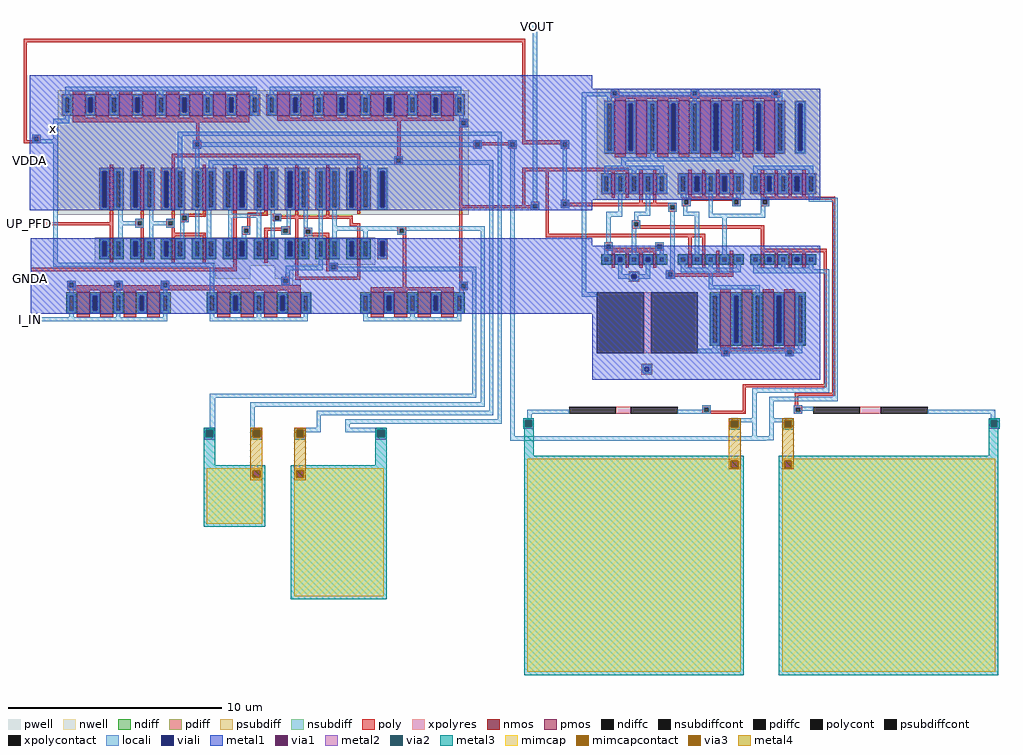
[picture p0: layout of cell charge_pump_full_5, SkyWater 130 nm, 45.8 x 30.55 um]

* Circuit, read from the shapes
.subckt charge_pump_full_5 VOUT VDDA GNDA UP_PFD DOWN_PFD I_IN
XM1 GNDA I_IN I_IN GNDA sky130_fd_pr__nfet_01v8 w=1 l=0.6 m=4
XM2 n1 UP_PFD GNDA GNDA sky130_fd_pr__nfet_01v8 w=1 l=0.15
XM3 n2 n1 GNDA GNDA sky130_fd_pr__nfet_01v8 w=1 l=0.15
XM4 n3 n2 GNDA GNDA sky130_fd_pr__nfet_01v8 w=1 l=0.15
XM5 n4 n2 charge_pump_cell_0/OPAMP_out GNDA sky130_fd_pr__nfet_01v8 w=1 l=0.15
XM6 GNDA I_IN n5 GNDA sky130_fd_pr__nfet_01v8 w=1 l=0.6 m=4
XM7 GNDA DOWN_PFD n6 GNDA sky130_fd_pr__nfet_01v8 w=1 l=0.15
XM8 n7 VDDA n6 GNDA sky130_fd_pr__nfet_01v8 w=1 l=0.15
XM9 n8 n7 GNDA GNDA sky130_fd_pr__nfet_01v8 w=1 l=0.15
XM10 n9 n8 I_IN GNDA sky130_fd_pr__nfet_01v8 w=1 l=0.15
XM11 n9 n7 GNDA GNDA sky130_fd_pr__nfet_01v8 w=1 l=0.15
XM12 GNDA n9 VOUT GNDA sky130_fd_pr__nfet_01v8 w=1 l=0.6 m=4
XM13 GNDA opamp_cell_0/p_left opamp_cell_0/p_left GNDA sky130_fd_pr__nfet_01v8 w=0.5 l=0.15 m=2
XM14 opamp_cell_0/p_right opamp_cell_0/p_left GNDA GNDA sky130_fd_pr__nfet_01v8 w=0.5 l=0.15 m=2
XM15 opamp_cell_0/n_left VOUT opamp_cell_0/v_common_n GNDA sky130_fd_pr__nfet_01v8 w=0.5 l=0.15 m=2
XM16 opamp_cell_0/n_right n5 opamp_cell_0/v_common_n GNDA sky130_fd_pr__nfet_01v8 w=0.5 l=0.15 m=2
XM17 GNDA opamp_cell_0/n_bias opamp_cell_0/n_bias GNDA sky130_fd_pr__nfet_01v8 w=2.5 l=0.5 m=2
XM18 opamp_cell_0/v_common_n opamp_cell_0/n_bias GNDA GNDA sky130_fd_pr__nfet_01v8 w=2.5 l=0.5 m=2
XM19 GNDA opamp_cell_0/p_right charge_pump_cell_0/OPAMP_out GNDA sky130_fd_pr__nfet_01v8 w=0.5 l=0.15 m=4
XM20 VDDA charge_pump_cell_0/OPAMP_out n5 VDDA sky130_fd_pr__pfet_01v8 w=1 l=0.6 m=8
XM21 n1 UP_PFD VDDA VDDA sky130_fd_pr__pfet_01v8 w=2 l=0.15
XM22 n2 n1 VDDA VDDA sky130_fd_pr__pfet_01v8 w=2 l=0.15
XM23 n3 n2 VDDA VDDA sky130_fd_pr__pfet_01v8 w=2 l=0.15
XM24 n4 n3 charge_pump_cell_0/OPAMP_out VDDA sky130_fd_pr__pfet_01v8 w=2 l=0.15
XM25 VDDA DOWN_PFD n6 VDDA sky130_fd_pr__pfet_01v8 w=2 l=0.15
XM26 n7 GNDA n6 VDDA sky130_fd_pr__pfet_01v8 w=2 l=0.15
XM27 VDDA n4 VOUT VDDA sky130_fd_pr__pfet_01v8 w=1 l=0.6 m=8
XM28 n8 n7 VDDA VDDA sky130_fd_pr__pfet_01v8 w=2 l=0.15
XM29 n9 n7 I_IN VDDA sky130_fd_pr__pfet_01v8 w=2 l=0.15
XM30 n4 n2 VDDA VDDA sky130_fd_pr__pfet_01v8 w=2 l=0.15
XM31 opamp_cell_0/p_left VOUT opamp_cell_0/v_common_p VDDA sky130_fd_pr__pfet_01v8 w=1 l=0.15 m=2
XM32 VDDA opamp_cell_0/p_bias opamp_cell_0/p_bias VDDA sky130_fd_pr__pfet_01v8 w=2.5 l=0.5 m=4
XM33 opamp_cell_0/v_common_p opamp_cell_0/p_bias VDDA VDDA sky130_fd_pr__pfet_01v8 w=2.5 l=0.5 m=4
XM34 opamp_cell_0/p_right n5 opamp_cell_0/v_common_p VDDA sky130_fd_pr__pfet_01v8 w=1 l=0.15 m=2
XM35 VDDA opamp_cell_0/n_left opamp_cell_0/n_left VDDA sky130_fd_pr__pfet_01v8 w=1 l=0.15 m=2
XM36 opamp_cell_0/n_right opamp_cell_0/n_left VDDA VDDA sky130_fd_pr__pfet_01v8 w=1 l=0.15 m=2
XM37 VDDA opamp_cell_0/n_right charge_pump_cell_0/OPAMP_out VDDA sky130_fd_pr__pfet_01v8 w=1 l=0.15 m=4
XC38 n9 n8 sky130_fd_pr__cap_mim_m3_1 w=2.6 l=2.6
XC39 n4 n3 sky130_fd_pr__cap_mim_m3_1 w=4.2 l=6
XC40 charge_pump_cell_0/OPAMP_out n10 sky130_fd_pr__cap_mim_m3_1 w=10 l=10
XC41 charge_pump_cell_0/OPAMP_out n11 sky130_fd_pr__cap_mim_m3_1 w=10 l=10
XR42 opamp_cell_0/p_right n10 GNDA sky130_fd_pr__res_xhigh_po w=0.35 l=0.7
XR43 opamp_cell_0/n_bias opamp_cell_0/p_bias GNDA sky130_fd_pr__res_xhigh_po w=2.85 l=0.35
XR44 n11 opamp_cell_0/n_right GNDA sky130_fd_pr__res_xhigh_po w=0.35 l=0.98
.ends

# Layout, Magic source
magic
tech sky130A
<< poly >>
rect 6050 -100 8405 -85
rect 6050 -560 6065 -100
rect 6090 -545 6130 -535
rect 6090 -560 6100 -545
rect 6050 -565 6100 -560
rect 6120 -565 6130 -545
rect 8390 -560 8405 -100
rect 6050 -575 6130 -565
rect 8160 -570 8200 -560
rect 8325 -570 8365 -560
rect 8160 -590 8170 -570
rect 8190 -585 8335 -570
rect 8190 -590 8200 -585
rect 8160 -600 8200 -590
rect 8325 -590 8335 -585
rect 8355 -590 8365 -570
rect 8390 -570 8610 -560
rect 8390 -580 8580 -570
rect 8325 -600 8365 -590
rect 8570 -590 8580 -580
rect 8600 -590 8610 -570
rect 8570 -600 8610 -590
rect 8390 -865 8405 -690
rect 8570 -850 8610 -840
rect 8430 -860 8470 -850
rect 8430 -865 8440 -860
rect 8340 -880 8440 -865
rect 8460 -880 8470 -860
rect 8570 -870 8580 -850
rect 8600 -870 8610 -850
rect 8570 -880 8610 -870
rect 8430 -890 8470 -880
rect 6080 -960 6090 -945
rect 6085 -1175 6090 -1160
<< polycont >>
rect 6100 -565 6120 -545
rect 8170 -590 8190 -570
rect 8335 -590 8355 -570
rect 8580 -590 8600 -570
rect 8440 -880 8460 -860
rect 8580 -870 8600 -850
<< locali >>
rect 6090 -545 6130 -535
rect 6090 -565 6100 -545
rect 6120 -555 6130 -545
rect 6120 -565 6190 -555
rect 6090 -575 6190 -565
rect 8160 -570 8200 -560
rect 6885 -590 8170 -570
rect 8190 -590 8200 -570
rect 8160 -600 8200 -590
rect 8325 -570 8365 -560
rect 8325 -590 8335 -570
rect 8355 -590 8365 -570
rect 8325 -600 8365 -590
rect 6085 -1410 6115 -1390
rect 8335 -1950 8355 -600
rect 8440 -850 8460 -15
rect 8570 -570 8610 -560
rect 8570 -590 8580 -570
rect 8600 -590 8610 -570
rect 8570 -600 8610 -590
rect 8580 -840 8600 -600
rect 8570 -850 8610 -840
rect 8430 -860 8470 -850
rect 8430 -880 8440 -860
rect 8460 -880 8470 -860
rect 8570 -870 8580 -850
rect 8600 -870 8610 -850
rect 8570 -880 8610 -870
rect 8430 -890 8470 -880
rect 8335 -1970 9470 -1950
<< metal1 >>
rect 6080 -890 6235 -255
rect 8345 -560 8720 -255
rect 8160 -600 8200 -560
rect 8325 -600 8720 -560
rect 8345 -890 8720 -600
rect 6085 -1375 6235 -1020
rect 8345 -1375 8720 -1020
use charge_pump_cell  charge_pump_cell_0
transform 1 0 -2540 0 1 -2680
box 8630 -35 10885 2425
use opamp_cell  opamp_cell_0
transform 1 0 4730 0 1 -3070
box 3660 0 5900 2750
<< labels >>
flabel metal1 6080 -655 6080 -655 7 FreeSans 400 0 -200 0 VDDA
port 2 w
flabel metal1 6085 -1210 6085 -1210 7 FreeSans 400 0 -200 0 GNDA
port 3 w
flabel space 6190 -505 6190 -505 7 FreeSans 400 0 -200 0 x
flabel poly 6080 -950 6080 -950 7 FreeSans 400 0 -200 0 UP_PFD
port 4 w
flabel poly 6085 -1165 6085 -1165 7 FreeSans 400 0 -200 0 DOWN_PFD
port 5 w
flabel locali 6085 -1400 6085 -1400 7 FreeSans 400 0 -200 0 I_IN
port 6 w
flabel locali 8460 -25 8460 -25 3 FreeSans 400 0 200 0 VOUT
port 1 e
<< end >>

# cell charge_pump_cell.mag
magic
tech sky130A
<< nwell >>
rect 8750 1770 10680 2355
<< pwell >>
rect 9430 1670 9445 1675
rect 8925 1540 10240 1665
rect 9490 1535 10240 1540
rect 9490 1530 9855 1535
rect 9490 1470 9655 1530
rect 9770 1495 9855 1530
rect 9770 1480 9820 1495
rect 9840 1480 9855 1495
rect 9770 1470 9855 1480
rect 9800 1465 9840 1470
rect 9850 1440 9890 1465
<< nmos >>
rect 8995 1560 9010 1660
rect 9140 1560 9155 1660
rect 9285 1560 9300 1660
rect 9430 1560 9445 1660
rect 9575 1560 9590 1660
rect 9720 1560 9735 1660
rect 9865 1560 9880 1660
rect 10010 1560 10025 1660
rect 10155 1560 10170 1660
rect 8840 1305 8900 1405
rect 8950 1305 9010 1405
rect 9060 1305 9120 1405
rect 9170 1305 9230 1405
rect 9500 1305 9560 1405
rect 9610 1305 9670 1405
rect 9720 1305 9780 1405
rect 9830 1305 9890 1405
rect 10220 1305 10280 1405
rect 10330 1305 10390 1405
rect 10440 1305 10500 1405
rect 10550 1305 10610 1405
<< pmos >>
rect 8820 2235 8880 2335
rect 8930 2235 8990 2335
rect 9040 2235 9100 2335
rect 9150 2235 9210 2335
rect 9260 2235 9320 2335
rect 9370 2235 9430 2335
rect 9480 2235 9540 2335
rect 9590 2235 9650 2335
rect 9780 2235 9840 2335
rect 9890 2235 9950 2335
rect 10000 2235 10060 2335
rect 10110 2235 10170 2335
rect 10220 2235 10280 2335
rect 10330 2235 10390 2335
rect 10440 2235 10500 2335
rect 10550 2235 10610 2335
rect 8995 1790 9010 1990
rect 9140 1790 9155 1990
rect 9285 1790 9300 1990
rect 9430 1790 9445 1990
rect 9575 1790 9590 1990
rect 9720 1790 9735 1990
rect 9865 1790 9880 1990
rect 10010 1790 10025 1990
rect 10155 1790 10170 1990
<< ndiff >>
rect 8945 1645 8995 1660
rect 8945 1575 8960 1645
rect 8980 1575 8995 1645
rect 8945 1560 8995 1575
rect 9010 1645 9060 1660
rect 9010 1575 9025 1645
rect 9045 1575 9060 1645
rect 9010 1560 9060 1575
rect 9090 1645 9140 1660
rect 9090 1575 9105 1645
rect 9125 1575 9140 1645
rect 9090 1560 9140 1575
rect 9155 1645 9205 1660
rect 9155 1575 9170 1645
rect 9190 1575 9205 1645
rect 9155 1560 9205 1575
rect 9235 1645 9285 1660
rect 9235 1575 9250 1645
rect 9270 1575 9285 1645
rect 9235 1560 9285 1575
rect 9300 1645 9350 1660
rect 9300 1575 9315 1645
rect 9335 1575 9350 1645
rect 9300 1560 9350 1575
rect 9380 1645 9430 1660
rect 9380 1575 9395 1645
rect 9415 1575 9430 1645
rect 9380 1560 9430 1575
rect 9445 1645 9495 1660
rect 9445 1575 9460 1645
rect 9480 1575 9495 1645
rect 9445 1560 9495 1575
rect 9525 1645 9575 1660
rect 9525 1575 9540 1645
rect 9560 1575 9575 1645
rect 9525 1560 9575 1575
rect 9590 1645 9640 1660
rect 9590 1575 9605 1645
rect 9625 1575 9640 1645
rect 9590 1560 9640 1575
rect 9670 1645 9720 1660
rect 9670 1575 9685 1645
rect 9705 1575 9720 1645
rect 9670 1560 9720 1575
rect 9735 1645 9785 1660
rect 9735 1575 9750 1645
rect 9770 1575 9785 1645
rect 9735 1560 9785 1575
rect 9815 1645 9865 1660
rect 9815 1575 9830 1645
rect 9850 1575 9865 1645
rect 9815 1560 9865 1575
rect 9880 1645 9930 1660
rect 9880 1575 9895 1645
rect 9915 1575 9930 1645
rect 9880 1560 9930 1575
rect 9960 1645 10010 1660
rect 9960 1575 9975 1645
rect 9995 1575 10010 1645
rect 9960 1560 10010 1575
rect 10025 1645 10075 1660
rect 10025 1575 10040 1645
rect 10060 1575 10075 1645
rect 10025 1560 10075 1575
rect 10105 1645 10155 1660
rect 10105 1575 10120 1645
rect 10140 1575 10155 1645
rect 10105 1560 10155 1575
rect 10170 1645 10220 1660
rect 10170 1575 10185 1645
rect 10205 1575 10220 1645
rect 10170 1560 10220 1575
rect 8790 1390 8840 1405
rect 8790 1320 8805 1390
rect 8825 1320 8840 1390
rect 8790 1305 8840 1320
rect 8900 1390 8950 1405
rect 8900 1320 8915 1390
rect 8935 1320 8950 1390
rect 8900 1305 8950 1320
rect 9010 1390 9060 1405
rect 9010 1320 9025 1390
rect 9045 1320 9060 1390
rect 9010 1305 9060 1320
rect 9120 1390 9170 1405
rect 9120 1320 9135 1390
rect 9155 1320 9170 1390
rect 9120 1305 9170 1320
rect 9230 1390 9280 1405
rect 9230 1320 9245 1390
rect 9265 1320 9280 1390
rect 9230 1305 9280 1320
rect 9450 1390 9500 1405
rect 9450 1320 9465 1390
rect 9485 1320 9500 1390
rect 9450 1305 9500 1320
rect 9560 1390 9610 1405
rect 9560 1320 9575 1390
rect 9595 1320 9610 1390
rect 9560 1305 9610 1320
rect 9670 1390 9720 1405
rect 9670 1320 9685 1390
rect 9705 1320 9720 1390
rect 9670 1305 9720 1320
rect 9780 1390 9830 1405
rect 9780 1320 9795 1390
rect 9815 1320 9830 1390
rect 9780 1305 9830 1320
rect 9890 1390 9940 1405
rect 9890 1320 9905 1390
rect 9925 1320 9940 1390
rect 9890 1305 9940 1320
rect 10170 1390 10220 1405
rect 10170 1320 10185 1390
rect 10205 1320 10220 1390
rect 10170 1305 10220 1320
rect 10280 1390 10330 1405
rect 10280 1320 10295 1390
rect 10315 1320 10330 1390
rect 10280 1305 10330 1320
rect 10390 1390 10440 1405
rect 10390 1320 10405 1390
rect 10425 1320 10440 1390
rect 10390 1305 10440 1320
rect 10500 1390 10550 1405
rect 10500 1320 10515 1390
rect 10535 1320 10550 1390
rect 10500 1305 10550 1320
rect 10610 1390 10660 1405
rect 10610 1320 10625 1390
rect 10645 1320 10660 1390
rect 10610 1305 10660 1320
<< pdiff >>
rect 8770 2320 8820 2335
rect 8770 2250 8785 2320
rect 8805 2250 8820 2320
rect 8770 2235 8820 2250
rect 8880 2320 8930 2335
rect 8880 2250 8895 2320
rect 8915 2250 8930 2320
rect 8880 2235 8930 2250
rect 8990 2320 9040 2335
rect 8990 2250 9005 2320
rect 9025 2250 9040 2320
rect 8990 2235 9040 2250
rect 9100 2320 9150 2335
rect 9100 2250 9115 2320
rect 9135 2250 9150 2320
rect 9100 2235 9150 2250
rect 9210 2320 9260 2335
rect 9210 2250 9225 2320
rect 9245 2250 9260 2320
rect 9210 2235 9260 2250
rect 9320 2320 9370 2335
rect 9320 2250 9335 2320
rect 9355 2250 9370 2320
rect 9320 2235 9370 2250
rect 9430 2320 9480 2335
rect 9430 2250 9445 2320
rect 9465 2250 9480 2320
rect 9430 2235 9480 2250
rect 9540 2320 9590 2335
rect 9540 2250 9555 2320
rect 9575 2250 9590 2320
rect 9540 2235 9590 2250
rect 9650 2320 9700 2335
rect 9650 2250 9665 2320
rect 9685 2250 9700 2320
rect 9650 2235 9700 2250
rect 9730 2320 9780 2335
rect 9730 2250 9745 2320
rect 9765 2250 9780 2320
rect 9730 2235 9780 2250
rect 9840 2320 9890 2335
rect 9840 2250 9855 2320
rect 9875 2250 9890 2320
rect 9840 2235 9890 2250
rect 9950 2320 10000 2335
rect 9950 2250 9965 2320
rect 9985 2250 10000 2320
rect 9950 2235 10000 2250
rect 10060 2320 10110 2335
rect 10060 2250 10075 2320
rect 10095 2250 10110 2320
rect 10060 2235 10110 2250
rect 10170 2320 10220 2335
rect 10170 2250 10185 2320
rect 10205 2250 10220 2320
rect 10170 2235 10220 2250
rect 10280 2320 10330 2335
rect 10280 2250 10295 2320
rect 10315 2250 10330 2320
rect 10280 2235 10330 2250
rect 10390 2320 10440 2335
rect 10390 2250 10405 2320
rect 10425 2250 10440 2320
rect 10390 2235 10440 2250
rect 10500 2320 10550 2335
rect 10500 2250 10515 2320
rect 10535 2250 10550 2320
rect 10500 2235 10550 2250
rect 10610 2320 10660 2335
rect 10610 2250 10625 2320
rect 10645 2250 10660 2320
rect 10610 2235 10660 2250
rect 8945 1975 8995 1990
rect 8945 1805 8960 1975
rect 8980 1805 8995 1975
rect 8945 1790 8995 1805
rect 9010 1975 9060 1990
rect 9010 1805 9025 1975
rect 9045 1805 9060 1975
rect 9010 1790 9060 1805
rect 9090 1975 9140 1990
rect 9090 1805 9105 1975
rect 9125 1805 9140 1975
rect 9090 1790 9140 1805
rect 9155 1975 9205 1990
rect 9155 1805 9170 1975
rect 9190 1805 9205 1975
rect 9155 1790 9205 1805
rect 9235 1975 9285 1990
rect 9235 1805 9250 1975
rect 9270 1805 9285 1975
rect 9235 1790 9285 1805
rect 9300 1975 9350 1990
rect 9300 1805 9315 1975
rect 9335 1805 9350 1975
rect 9300 1790 9350 1805
rect 9380 1975 9430 1990
rect 9380 1805 9395 1975
rect 9415 1805 9430 1975
rect 9380 1790 9430 1805
rect 9445 1975 9495 1990
rect 9445 1805 9460 1975
rect 9480 1805 9495 1975
rect 9445 1790 9495 1805
rect 9525 1975 9575 1990
rect 9525 1805 9540 1975
rect 9560 1805 9575 1975
rect 9525 1790 9575 1805
rect 9590 1975 9640 1990
rect 9590 1805 9605 1975
rect 9625 1805 9640 1975
rect 9590 1790 9640 1805
rect 9670 1975 9720 1990
rect 9670 1805 9685 1975
rect 9705 1805 9720 1975
rect 9670 1790 9720 1805
rect 9735 1975 9785 1990
rect 9735 1805 9750 1975
rect 9770 1805 9785 1975
rect 9735 1790 9785 1805
rect 9815 1975 9865 1990
rect 9815 1805 9830 1975
rect 9850 1805 9865 1975
rect 9815 1790 9865 1805
rect 9880 1975 9930 1990
rect 9880 1805 9895 1975
rect 9915 1805 9930 1975
rect 9880 1790 9930 1805
rect 9960 1975 10010 1990
rect 9960 1805 9975 1975
rect 9995 1805 10010 1975
rect 9960 1790 10010 1805
rect 10025 1975 10075 1990
rect 10025 1805 10040 1975
rect 10060 1805 10075 1975
rect 10025 1790 10075 1805
rect 10105 1975 10155 1990
rect 10105 1805 10120 1975
rect 10140 1805 10155 1975
rect 10105 1790 10155 1805
rect 10170 1975 10220 1990
rect 10170 1805 10185 1975
rect 10205 1805 10220 1975
rect 10170 1790 10220 1805
<< ndiffc >>
rect 8960 1575 8980 1645
rect 9025 1575 9045 1645
rect 9105 1575 9125 1645
rect 9170 1575 9190 1645
rect 9250 1575 9270 1645
rect 9315 1575 9335 1645
rect 9395 1575 9415 1645
rect 9460 1575 9480 1645
rect 9540 1575 9560 1645
rect 9605 1575 9625 1645
rect 9685 1575 9705 1645
rect 9750 1575 9770 1645
rect 9830 1575 9850 1645
rect 9895 1575 9915 1645
rect 9975 1575 9995 1645
rect 10040 1575 10060 1645
rect 10120 1575 10140 1645
rect 10185 1575 10205 1645
rect 8805 1320 8825 1390
rect 8915 1320 8935 1390
rect 9025 1320 9045 1390
rect 9135 1320 9155 1390
rect 9245 1320 9265 1390
rect 9465 1320 9485 1390
rect 9575 1320 9595 1390
rect 9685 1320 9705 1390
rect 9795 1320 9815 1390
rect 9905 1320 9925 1390
rect 10185 1320 10205 1390
rect 10295 1320 10315 1390
rect 10405 1320 10425 1390
rect 10515 1320 10535 1390
rect 10625 1320 10645 1390
<< pdiffc >>
rect 8785 2250 8805 2320
rect 8895 2250 8915 2320
rect 9005 2250 9025 2320
rect 9115 2250 9135 2320
rect 9225 2250 9245 2320
rect 9335 2250 9355 2320
rect 9445 2250 9465 2320
rect 9555 2250 9575 2320
rect 9665 2250 9685 2320
rect 9745 2250 9765 2320
rect 9855 2250 9875 2320
rect 9965 2250 9985 2320
rect 10075 2250 10095 2320
rect 10185 2250 10205 2320
rect 10295 2250 10315 2320
rect 10405 2250 10425 2320
rect 10515 2250 10535 2320
rect 10625 2250 10645 2320
rect 8960 1805 8980 1975
rect 9025 1805 9045 1975
rect 9105 1805 9125 1975
rect 9170 1805 9190 1975
rect 9250 1805 9270 1975
rect 9315 1805 9335 1975
rect 9395 1805 9415 1975
rect 9460 1805 9480 1975
rect 9540 1805 9560 1975
rect 9605 1805 9625 1975
rect 9685 1805 9705 1975
rect 9750 1805 9770 1975
rect 9830 1805 9850 1975
rect 9895 1805 9915 1975
rect 9975 1805 9995 1975
rect 10040 1805 10060 1975
rect 10120 1805 10140 1975
rect 10185 1805 10205 1975
<< psubdiff >>
rect 10250 1645 10300 1660
rect 10250 1575 10265 1645
rect 10285 1575 10300 1645
rect 10250 1560 10300 1575
<< nsubdiff >>
rect 10250 1975 10300 1990
rect 10250 1805 10265 1975
rect 10285 1805 10300 1975
rect 10250 1790 10300 1805
<< psubdiffcont >>
rect 10265 1575 10285 1645
<< nsubdiffcont >>
rect 10265 1805 10285 1975
<< poly >>
rect 8820 2335 8880 2350
rect 8930 2335 8990 2350
rect 9040 2335 9100 2350
rect 9150 2335 9210 2350
rect 9260 2335 9320 2350
rect 9370 2335 9430 2350
rect 9480 2335 9540 2350
rect 9590 2335 9650 2350
rect 9780 2335 9840 2350
rect 9890 2335 9950 2350
rect 10000 2335 10060 2350
rect 10110 2335 10170 2350
rect 10220 2335 10280 2350
rect 10330 2335 10390 2350
rect 10440 2335 10500 2350
rect 10550 2335 10610 2350
rect 8820 2225 8880 2235
rect 8930 2225 8990 2235
rect 9040 2225 9100 2235
rect 9150 2225 9210 2235
rect 9260 2225 9320 2235
rect 9370 2225 9430 2235
rect 9480 2225 9540 2235
rect 9590 2225 9650 2235
rect 8820 2205 9650 2225
rect 9780 2225 9840 2235
rect 9890 2225 9950 2235
rect 10000 2225 10060 2235
rect 10110 2225 10170 2235
rect 10220 2225 10280 2235
rect 10330 2225 10390 2235
rect 10440 2225 10500 2235
rect 10550 2225 10610 2235
rect 9780 2210 10610 2225
rect 10635 2210 10675 2220
rect 9400 2120 9415 2205
rect 9385 2110 9425 2120
rect 9385 2090 9395 2110
rect 9415 2090 9425 2110
rect 9385 2080 9425 2090
rect 9285 2040 10170 2055
rect 10345 2045 10360 2210
rect 10635 2190 10645 2210
rect 10665 2190 10675 2210
rect 10635 2180 10675 2190
rect 8995 1990 9010 2005
rect 9140 1990 9155 2005
rect 9285 1990 9300 2040
rect 9430 1990 9445 2005
rect 9575 1990 9590 2005
rect 9720 1990 9735 2005
rect 9865 1990 9880 2005
rect 10010 1990 10025 2005
rect 10155 1990 10170 2040
rect 10330 2035 10370 2045
rect 10330 2015 10340 2035
rect 10360 2015 10370 2035
rect 10330 2005 10370 2015
rect 10635 1815 10650 2180
rect 10635 1800 10885 1815
rect 8995 1735 9010 1790
rect 9140 1750 9155 1790
rect 9285 1750 9300 1790
rect 9430 1775 9445 1790
rect 8630 1720 9010 1735
rect 8995 1660 9010 1720
rect 9115 1740 9155 1750
rect 9115 1720 9125 1740
rect 9145 1720 9155 1740
rect 9115 1710 9155 1720
rect 9260 1740 9300 1750
rect 9260 1720 9270 1740
rect 9290 1720 9300 1740
rect 9325 1765 9445 1775
rect 9325 1745 9335 1765
rect 9355 1760 9445 1765
rect 9355 1745 9365 1760
rect 9325 1735 9365 1745
rect 9260 1710 9300 1720
rect 9140 1660 9155 1710
rect 9285 1685 9300 1710
rect 9285 1670 9445 1685
rect 9285 1660 9300 1670
rect 9430 1660 9445 1670
rect 9575 1660 9590 1790
rect 9720 1780 9735 1790
rect 9640 1765 9735 1780
rect 9760 1765 9800 1775
rect 9865 1765 9880 1790
rect 10010 1765 10025 1790
rect 10155 1775 10170 1790
rect 9640 1715 9655 1765
rect 9760 1745 9770 1765
rect 9790 1750 10135 1765
rect 9790 1745 9800 1750
rect 9760 1740 9800 1745
rect 9615 1705 9655 1715
rect 9800 1710 9840 1715
rect 9615 1685 9625 1705
rect 9645 1685 9655 1705
rect 9615 1675 9655 1685
rect 9720 1705 9840 1710
rect 9720 1695 9810 1705
rect 9720 1660 9735 1695
rect 9800 1685 9810 1695
rect 9830 1685 9840 1705
rect 9800 1675 9840 1685
rect 9865 1660 9880 1750
rect 10120 1730 10135 1750
rect 10120 1715 10170 1730
rect 9905 1700 9945 1710
rect 9905 1680 9915 1700
rect 9935 1685 9945 1700
rect 9935 1680 10025 1685
rect 9905 1670 10025 1680
rect 10010 1660 10025 1670
rect 10155 1660 10170 1715
rect 10345 1705 10385 1715
rect 10345 1685 10355 1705
rect 10375 1685 10385 1705
rect 10345 1675 10385 1685
rect 8995 1545 9010 1560
rect 9140 1545 9155 1560
rect 9285 1545 9300 1560
rect 9430 1545 9445 1560
rect 9575 1520 9590 1560
rect 9720 1545 9735 1560
rect 8630 1505 9590 1520
rect 9865 1480 9880 1560
rect 10010 1545 10025 1560
rect 10010 1535 10065 1545
rect 10010 1515 10035 1535
rect 10055 1515 10065 1535
rect 10010 1505 10065 1515
rect 10155 1480 10170 1560
rect 9800 1470 9840 1480
rect 8795 1450 8835 1460
rect 8795 1430 8805 1450
rect 8825 1440 8835 1450
rect 9015 1450 9055 1460
rect 9015 1440 9025 1450
rect 8825 1430 9025 1440
rect 9045 1440 9055 1450
rect 9235 1450 9275 1460
rect 9235 1440 9245 1450
rect 9045 1430 9245 1440
rect 9265 1440 9275 1450
rect 9800 1450 9810 1470
rect 9830 1450 9840 1470
rect 9865 1465 10170 1480
rect 9800 1440 9840 1450
rect 9265 1430 9890 1440
rect 10370 1430 10385 1675
rect 10635 1455 10650 1800
rect 10635 1445 10675 1455
rect 8795 1415 9890 1430
rect 8840 1405 8900 1415
rect 8950 1405 9010 1415
rect 9060 1405 9120 1415
rect 9170 1405 9230 1415
rect 9500 1405 9560 1415
rect 9610 1405 9670 1415
rect 9720 1405 9780 1415
rect 9830 1405 9890 1415
rect 10220 1415 10610 1430
rect 10635 1425 10645 1445
rect 10665 1425 10675 1445
rect 10635 1415 10675 1425
rect 10220 1405 10280 1415
rect 10330 1405 10390 1415
rect 10440 1405 10500 1415
rect 10550 1405 10610 1415
rect 8840 1290 8900 1305
rect 8950 1290 9010 1305
rect 9060 1290 9120 1305
rect 9170 1290 9230 1305
rect 9500 1290 9560 1305
rect 9610 1290 9670 1305
rect 9720 1290 9780 1305
rect 9830 1290 9890 1305
rect 10220 1290 10280 1305
rect 10330 1290 10390 1305
rect 10440 1290 10500 1305
rect 10550 1290 10610 1305
<< polycont >>
rect 9395 2090 9415 2110
rect 10645 2190 10665 2210
rect 10340 2015 10360 2035
rect 9125 1720 9145 1740
rect 9270 1720 9290 1740
rect 9335 1745 9355 1765
rect 9770 1745 9790 1765
rect 9625 1685 9645 1705
rect 9810 1685 9830 1705
rect 9915 1680 9935 1700
rect 10355 1685 10375 1705
rect 10035 1515 10055 1535
rect 8805 1430 8825 1450
rect 9025 1430 9045 1450
rect 9245 1430 9265 1450
rect 9810 1450 9830 1470
rect 10645 1425 10665 1445
<< locali >>
rect 8785 2350 9685 2370
rect 8785 2330 8805 2350
rect 9005 2330 9025 2350
rect 9225 2330 9245 2350
rect 9445 2330 9465 2350
rect 9665 2330 9685 2350
rect 9745 2350 10645 2370
rect 9745 2330 9765 2350
rect 9965 2330 9985 2350
rect 10185 2330 10205 2350
rect 10405 2330 10425 2350
rect 10625 2330 10645 2350
rect 8775 2320 8815 2330
rect 8775 2250 8785 2320
rect 8805 2250 8815 2320
rect 8775 2240 8815 2250
rect 8885 2320 8925 2330
rect 8885 2250 8895 2320
rect 8915 2250 8925 2320
rect 8885 2240 8925 2250
rect 8995 2320 9035 2330
rect 8995 2250 9005 2320
rect 9025 2250 9035 2320
rect 8995 2240 9035 2250
rect 9105 2320 9145 2330
rect 9105 2250 9115 2320
rect 9135 2250 9145 2320
rect 9105 2240 9145 2250
rect 9215 2320 9255 2330
rect 9215 2250 9225 2320
rect 9245 2250 9255 2320
rect 9215 2240 9255 2250
rect 9325 2320 9365 2330
rect 9325 2250 9335 2320
rect 9355 2250 9365 2320
rect 9325 2240 9365 2250
rect 9435 2320 9475 2330
rect 9435 2250 9445 2320
rect 9465 2250 9475 2320
rect 9435 2240 9475 2250
rect 9545 2320 9585 2330
rect 9545 2250 9555 2320
rect 9575 2250 9585 2320
rect 9545 2240 9585 2250
rect 9655 2320 9695 2330
rect 9655 2250 9665 2320
rect 9685 2250 9695 2320
rect 9655 2240 9695 2250
rect 9735 2320 9775 2330
rect 9735 2250 9745 2320
rect 9765 2250 9775 2320
rect 9735 2240 9775 2250
rect 9845 2320 9885 2330
rect 9845 2250 9855 2320
rect 9875 2250 9885 2320
rect 9845 2240 9885 2250
rect 9955 2320 9995 2330
rect 9955 2250 9965 2320
rect 9985 2250 9995 2320
rect 9955 2240 9995 2250
rect 10065 2320 10105 2330
rect 10065 2250 10075 2320
rect 10095 2250 10105 2320
rect 10065 2240 10105 2250
rect 10175 2320 10215 2330
rect 10175 2250 10185 2320
rect 10205 2250 10215 2320
rect 10175 2240 10215 2250
rect 10285 2320 10325 2330
rect 10285 2250 10295 2320
rect 10315 2250 10325 2320
rect 10285 2240 10325 2250
rect 10395 2320 10435 2330
rect 10395 2250 10405 2320
rect 10425 2250 10435 2320
rect 10395 2240 10435 2250
rect 10505 2320 10545 2330
rect 10505 2250 10515 2320
rect 10535 2250 10545 2320
rect 10505 2240 10545 2250
rect 10615 2320 10655 2330
rect 10615 2250 10625 2320
rect 10645 2250 10655 2320
rect 10615 2240 10655 2250
rect 8785 2220 8805 2240
rect 9665 2235 9685 2240
rect 8730 2200 8805 2220
rect 10635 2220 10655 2240
rect 10635 2210 10675 2220
rect 8730 1545 8750 2200
rect 10635 2190 10645 2210
rect 10665 2190 10675 2210
rect 10635 2180 10675 2190
rect 9315 2140 10835 2160
rect 9315 1985 9335 2140
rect 9385 2110 9425 2120
rect 9385 2090 9395 2110
rect 9415 2090 9425 2110
rect 9385 2080 9425 2090
rect 9395 1985 9415 2080
rect 10330 2035 10370 2045
rect 10330 2025 10340 2035
rect 9460 2015 10340 2025
rect 10360 2025 10370 2035
rect 10360 2015 10795 2025
rect 9460 2005 10795 2015
rect 9460 1985 9480 2005
rect 10185 1985 10205 2005
rect 8950 1975 8990 1985
rect 8950 1805 8960 1975
rect 8980 1805 8990 1975
rect 8950 1795 8990 1805
rect 9015 1975 9055 1985
rect 9015 1805 9025 1975
rect 9045 1805 9055 1975
rect 9015 1795 9055 1805
rect 9095 1975 9135 1985
rect 9095 1805 9105 1975
rect 9125 1805 9135 1975
rect 9095 1795 9135 1805
rect 9160 1975 9200 1985
rect 9160 1805 9170 1975
rect 9190 1805 9200 1975
rect 9160 1795 9200 1805
rect 9240 1975 9280 1985
rect 9240 1805 9250 1975
rect 9270 1805 9280 1975
rect 9240 1795 9280 1805
rect 9305 1975 9345 1985
rect 9305 1805 9315 1975
rect 9335 1805 9345 1975
rect 9305 1795 9345 1805
rect 9385 1975 9425 1985
rect 9385 1805 9395 1975
rect 9415 1805 9425 1975
rect 9385 1795 9425 1805
rect 9450 1975 9490 1985
rect 9450 1805 9460 1975
rect 9480 1805 9490 1975
rect 9450 1795 9490 1805
rect 9530 1975 9570 1985
rect 9530 1805 9540 1975
rect 9560 1805 9570 1975
rect 9530 1795 9570 1805
rect 9595 1975 9635 1985
rect 9595 1805 9605 1975
rect 9625 1825 9635 1975
rect 9675 1975 9715 1985
rect 9625 1805 9640 1825
rect 9595 1795 9640 1805
rect 9675 1805 9685 1975
rect 9705 1805 9715 1975
rect 9675 1795 9715 1805
rect 9740 1975 9780 1985
rect 9740 1805 9750 1975
rect 9770 1805 9780 1975
rect 9740 1795 9780 1805
rect 9820 1975 9860 1985
rect 9820 1805 9830 1975
rect 9850 1805 9860 1975
rect 9820 1795 9860 1805
rect 9885 1975 9925 1985
rect 9885 1805 9895 1975
rect 9915 1805 9925 1975
rect 9885 1795 9925 1805
rect 9965 1975 10005 1985
rect 9965 1805 9975 1975
rect 9995 1805 10005 1975
rect 9965 1795 10005 1805
rect 10030 1975 10070 1985
rect 10030 1805 10040 1975
rect 10060 1805 10070 1975
rect 10030 1795 10070 1805
rect 10110 1975 10150 1985
rect 10110 1805 10120 1975
rect 10140 1805 10150 1975
rect 10110 1795 10150 1805
rect 10175 1975 10215 1985
rect 10175 1805 10185 1975
rect 10205 1805 10215 1975
rect 10175 1795 10215 1805
rect 10255 1975 10295 1985
rect 10255 1805 10265 1975
rect 10285 1805 10295 1975
rect 10255 1795 10295 1805
rect 9035 1740 9055 1795
rect 9115 1740 9155 1750
rect 9035 1720 9125 1740
rect 9145 1720 9155 1740
rect 9035 1655 9055 1720
rect 9115 1710 9155 1720
rect 9180 1740 9200 1795
rect 9325 1775 9345 1795
rect 9325 1765 9365 1775
rect 9260 1740 9300 1750
rect 9180 1720 9270 1740
rect 9290 1720 9300 1740
rect 9180 1655 9200 1720
rect 9260 1710 9300 1720
rect 9325 1745 9335 1765
rect 9355 1745 9365 1765
rect 9325 1735 9365 1745
rect 9325 1655 9345 1735
rect 9395 1655 9415 1795
rect 9450 1655 9470 1795
rect 9550 1775 9570 1795
rect 9685 1775 9705 1795
rect 9550 1755 9705 1775
rect 9550 1655 9570 1755
rect 9615 1705 9655 1715
rect 9615 1685 9625 1705
rect 9645 1685 9655 1705
rect 9615 1675 9655 1685
rect 9615 1655 9635 1675
rect 9685 1655 9705 1755
rect 9750 1775 9770 1795
rect 9750 1765 9800 1775
rect 9750 1745 9770 1765
rect 9790 1745 9800 1765
rect 9750 1740 9800 1745
rect 9750 1655 9770 1740
rect 9825 1715 9845 1795
rect 9800 1705 9845 1715
rect 9800 1685 9810 1705
rect 9830 1685 9845 1705
rect 9800 1675 9845 1685
rect 9905 1710 9925 1795
rect 9905 1700 9945 1710
rect 9905 1680 9915 1700
rect 9935 1680 9945 1700
rect 9905 1670 9945 1680
rect 9905 1655 9925 1670
rect 9975 1655 9995 1795
rect 10040 1715 10060 1795
rect 10040 1705 10755 1715
rect 10040 1695 10355 1705
rect 10040 1655 10060 1695
rect 10185 1655 10205 1695
rect 10345 1685 10355 1695
rect 10375 1695 10755 1705
rect 10375 1685 10385 1695
rect 10345 1675 10385 1685
rect 8950 1645 8990 1655
rect 8950 1575 8960 1645
rect 8980 1575 8990 1645
rect 8950 1565 8990 1575
rect 9015 1645 9055 1655
rect 9015 1575 9025 1645
rect 9045 1575 9055 1645
rect 9015 1565 9055 1575
rect 9095 1645 9135 1655
rect 9095 1575 9105 1645
rect 9125 1575 9135 1645
rect 9095 1565 9135 1575
rect 9160 1645 9200 1655
rect 9160 1575 9170 1645
rect 9190 1575 9200 1645
rect 9160 1565 9200 1575
rect 9240 1645 9280 1655
rect 9240 1575 9250 1645
rect 9270 1575 9280 1645
rect 9240 1565 9280 1575
rect 9305 1645 9345 1655
rect 9305 1575 9315 1645
rect 9335 1575 9345 1645
rect 9305 1565 9345 1575
rect 9385 1645 9425 1655
rect 9385 1575 9395 1645
rect 9415 1575 9425 1645
rect 9385 1565 9425 1575
rect 9450 1645 9490 1655
rect 9450 1575 9460 1645
rect 9480 1575 9490 1645
rect 9450 1565 9490 1575
rect 9530 1645 9570 1655
rect 9530 1575 9540 1645
rect 9560 1575 9570 1645
rect 9530 1565 9570 1575
rect 9595 1645 9635 1655
rect 9595 1575 9605 1645
rect 9625 1575 9635 1645
rect 9595 1565 9635 1575
rect 9675 1645 9715 1655
rect 9675 1575 9685 1645
rect 9705 1575 9715 1645
rect 9675 1565 9715 1575
rect 9740 1645 9780 1655
rect 9740 1575 9750 1645
rect 9770 1575 9780 1645
rect 9740 1565 9780 1575
rect 9820 1645 9860 1655
rect 9820 1575 9830 1645
rect 9850 1575 9860 1645
rect 9820 1565 9860 1575
rect 9885 1645 9925 1655
rect 9885 1575 9895 1645
rect 9915 1575 9925 1645
rect 9885 1565 9925 1575
rect 9965 1645 10005 1655
rect 9965 1575 9975 1645
rect 9995 1575 10005 1645
rect 9965 1565 10005 1575
rect 10030 1645 10075 1655
rect 10030 1575 10040 1645
rect 10060 1575 10075 1645
rect 10030 1565 10075 1575
rect 10110 1645 10150 1655
rect 10110 1575 10120 1645
rect 10140 1575 10150 1645
rect 10110 1565 10150 1575
rect 10175 1645 10215 1655
rect 10175 1575 10185 1645
rect 10205 1575 10215 1645
rect 10175 1565 10215 1575
rect 10255 1645 10295 1655
rect 10255 1575 10265 1645
rect 10285 1575 10295 1645
rect 10255 1565 10295 1575
rect 8730 1525 9485 1545
rect 9975 1530 9995 1565
rect 8795 1450 8835 1460
rect 8795 1430 8805 1450
rect 8825 1430 8835 1450
rect 8795 1420 8835 1430
rect 9015 1450 9055 1460
rect 9015 1430 9025 1450
rect 9045 1430 9055 1450
rect 9015 1420 9055 1430
rect 9235 1450 9275 1460
rect 9235 1430 9245 1450
rect 9265 1430 9275 1450
rect 9235 1420 9275 1430
rect 8805 1400 8825 1420
rect 9025 1400 9045 1420
rect 9245 1400 9265 1420
rect 9465 1400 9485 1525
rect 9820 1510 9995 1530
rect 10025 1535 10065 1545
rect 10025 1515 10035 1535
rect 10055 1525 10065 1535
rect 10055 1515 10715 1525
rect 9820 1480 9840 1510
rect 10025 1505 10715 1515
rect 9800 1470 9840 1480
rect 9800 1450 9810 1470
rect 9830 1450 9840 1470
rect 9800 1440 9840 1450
rect 10635 1445 10675 1455
rect 10635 1425 10645 1445
rect 10665 1425 10675 1445
rect 10635 1415 10675 1425
rect 9685 1400 9705 1405
rect 10635 1400 10655 1415
rect 8795 1390 8835 1400
rect 8795 1320 8805 1390
rect 8825 1320 8835 1390
rect 8795 1310 8835 1320
rect 8905 1390 8945 1400
rect 8905 1320 8915 1390
rect 8935 1320 8945 1390
rect 8905 1310 8945 1320
rect 9015 1390 9055 1400
rect 9015 1320 9025 1390
rect 9045 1320 9055 1390
rect 9015 1310 9055 1320
rect 9125 1390 9165 1400
rect 9125 1320 9135 1390
rect 9155 1320 9165 1390
rect 9125 1310 9165 1320
rect 9235 1390 9275 1400
rect 9235 1320 9245 1390
rect 9265 1320 9275 1390
rect 9235 1310 9275 1320
rect 9455 1390 9495 1400
rect 9455 1320 9465 1390
rect 9485 1320 9495 1390
rect 9455 1310 9495 1320
rect 9565 1390 9605 1400
rect 9565 1320 9575 1390
rect 9595 1320 9605 1390
rect 9565 1310 9605 1320
rect 9675 1390 9715 1400
rect 9675 1320 9685 1390
rect 9705 1320 9715 1390
rect 9675 1310 9715 1320
rect 9785 1390 9825 1400
rect 9785 1320 9795 1390
rect 9815 1320 9825 1390
rect 9785 1310 9825 1320
rect 9895 1390 9935 1400
rect 9895 1320 9905 1390
rect 9925 1320 9935 1390
rect 9895 1310 9935 1320
rect 10175 1390 10215 1400
rect 10175 1320 10185 1390
rect 10205 1320 10215 1390
rect 10175 1310 10215 1320
rect 10285 1390 10325 1400
rect 10285 1320 10295 1390
rect 10315 1320 10325 1390
rect 10285 1310 10325 1320
rect 10395 1390 10435 1400
rect 10395 1320 10405 1390
rect 10425 1320 10435 1390
rect 10395 1310 10435 1320
rect 10505 1390 10545 1400
rect 10505 1320 10515 1390
rect 10535 1320 10545 1390
rect 10505 1310 10545 1320
rect 10615 1390 10655 1400
rect 10615 1320 10625 1390
rect 10645 1320 10655 1390
rect 10615 1310 10655 1320
rect 8805 1290 8825 1310
rect 9025 1290 9045 1310
rect 9245 1290 9265 1310
rect 8655 1270 9265 1290
rect 9465 1290 9485 1310
rect 9685 1290 9705 1310
rect 9905 1290 9925 1310
rect 9465 1270 9925 1290
rect 10185 1290 10205 1310
rect 10405 1290 10425 1310
rect 10625 1290 10645 1310
rect 10185 1270 10645 1290
rect 10695 930 10715 1505
rect 9465 910 10715 930
rect 9465 770 9490 910
rect 10735 890 10755 1695
rect 9435 760 9490 770
rect 9435 725 9445 760
rect 9480 725 9490 760
rect 9435 715 9490 725
rect 9655 870 10755 890
rect 9655 770 9675 870
rect 10775 850 10795 2005
rect 9965 830 10795 850
rect 9965 770 9985 830
rect 10815 810 10835 2140
rect 9655 760 9710 770
rect 9655 725 9665 760
rect 9700 725 9710 760
rect 9655 715 9710 725
rect 9860 760 9985 770
rect 9860 725 9870 760
rect 9905 750 9985 760
rect 10100 790 10835 810
rect 10100 770 10120 790
rect 10100 760 10295 770
rect 10100 750 10250 760
rect 9905 725 9915 750
rect 9860 715 9915 725
rect 10240 725 10250 750
rect 10285 725 10295 760
rect 10240 715 10295 725
<< viali >>
rect 8895 2250 8915 2320
rect 9115 2250 9135 2320
rect 9335 2250 9355 2320
rect 9555 2250 9575 2320
rect 9855 2250 9875 2320
rect 10075 2250 10095 2320
rect 10295 2250 10315 2320
rect 10515 2250 10535 2320
rect 8960 1805 8980 1975
rect 9105 1805 9125 1975
rect 9250 1805 9270 1975
rect 9605 1805 9625 1975
rect 9830 1805 9850 1975
rect 10120 1805 10140 1975
rect 10265 1805 10285 1975
rect 8960 1575 8980 1645
rect 9105 1575 9125 1645
rect 9250 1575 9270 1645
rect 9605 1575 9625 1645
rect 9830 1575 9850 1645
rect 10120 1575 10140 1645
rect 10265 1575 10285 1645
rect 8915 1320 8935 1390
rect 9135 1320 9155 1390
rect 9575 1320 9595 1390
rect 9795 1320 9815 1390
rect 10295 1320 10315 1390
rect 10515 1320 10535 1390
rect 9445 725 9480 760
rect 9665 725 9700 760
rect 9870 725 9905 760
rect 10250 725 10285 760
<< metal1 >>
rect 8775 2320 10885 2425
rect 8775 2250 8895 2320
rect 8915 2250 9115 2320
rect 9135 2250 9335 2320
rect 9355 2250 9555 2320
rect 9575 2250 9855 2320
rect 9875 2250 10075 2320
rect 10095 2250 10295 2320
rect 10315 2250 10515 2320
rect 10535 2250 10885 2320
rect 8775 1975 10885 2250
rect 8775 1805 8960 1975
rect 8980 1805 9105 1975
rect 9125 1805 9250 1975
rect 9270 1805 9605 1975
rect 9625 1805 9830 1975
rect 9850 1805 10120 1975
rect 10140 1805 10265 1975
rect 10285 1805 10885 1975
rect 8775 1790 10885 1805
rect 8775 1645 10885 1660
rect 8775 1575 8960 1645
rect 8980 1575 9105 1645
rect 9125 1575 9250 1645
rect 9270 1575 9605 1645
rect 9625 1575 9830 1645
rect 9850 1575 10120 1645
rect 10140 1575 10265 1645
rect 10285 1575 10885 1645
rect 8775 1390 10885 1575
rect 8775 1320 8915 1390
rect 8935 1320 9135 1390
rect 9155 1320 9575 1390
rect 9595 1320 9795 1390
rect 9815 1320 10295 1390
rect 10315 1320 10515 1390
rect 10535 1320 10885 1390
rect 8775 1305 10885 1320
rect 9435 760 9490 770
rect 9435 725 9445 760
rect 9480 725 9490 760
rect 9435 715 9490 725
rect 9655 760 9710 770
rect 9655 725 9665 760
rect 9700 725 9710 760
rect 9655 715 9710 725
rect 9860 760 9915 770
rect 9860 725 9870 760
rect 9905 725 9915 760
rect 9860 715 9915 725
rect 10240 760 10295 770
rect 10240 725 10250 760
rect 10285 725 10295 760
rect 10240 715 10295 725
<< via1 >>
rect 9445 725 9480 760
rect 9665 725 9700 760
rect 9870 725 9905 760
rect 10250 725 10285 760
<< metal2 >>
rect 9435 760 9490 770
rect 9435 725 9445 760
rect 9480 725 9490 760
rect 9435 715 9490 725
rect 9655 760 9710 770
rect 9655 725 9665 760
rect 9700 725 9710 760
rect 9655 715 9710 725
rect 9860 760 9915 770
rect 9860 725 9870 760
rect 9905 725 9915 760
rect 9860 715 9915 725
rect 10240 760 10295 770
rect 10240 725 10250 760
rect 10285 725 10295 760
rect 10240 715 10295 725
<< via2 >>
rect 9445 725 9480 760
rect 9665 725 9700 760
rect 9870 725 9905 760
rect 10250 725 10285 760
<< metal3 >>
rect 9435 760 9490 770
rect 9435 725 9445 760
rect 9480 725 9490 760
rect 9435 595 9490 725
rect 9655 760 9710 770
rect 9655 725 9665 760
rect 9700 725 9710 760
rect 9655 715 9710 725
rect 9860 760 9915 770
rect 9860 725 9870 760
rect 9905 725 9915 760
rect 9860 715 9915 725
rect 10240 760 10295 770
rect 10240 725 10250 760
rect 10285 725 10295 760
rect 10240 595 10295 725
rect 9435 305 9725 595
rect 9845 -35 10295 595
<< via3 >>
rect 9665 725 9700 760
rect 9870 725 9905 760
<< mimcap >>
rect 9450 570 9710 580
rect 9450 535 9665 570
rect 9700 535 9710 570
rect 9450 320 9710 535
rect 9860 570 10280 580
rect 9860 535 9870 570
rect 9905 535 10280 570
rect 9860 -20 10280 535
<< mimcapcontact >>
rect 9665 535 9700 570
rect 9870 535 9905 570
<< metal4 >>
rect 9655 760 9710 770
rect 9655 725 9665 760
rect 9700 725 9710 760
rect 9655 570 9710 725
rect 9655 535 9665 570
rect 9700 535 9710 570
rect 9655 525 9710 535
rect 9860 760 9915 770
rect 9860 725 9870 760
rect 9905 725 9915 760
rect 9860 570 9915 725
rect 9860 535 9870 570
rect 9905 535 9915 570
rect 9860 525 9915 535
<< labels >>
flabel poly 8630 1730 8630 1730 7 FreeSans 400 0 -200 0 UP_PFD
flabel poly 8630 1510 8630 1510 7 FreeSans 400 0 -200 0 DOWN_PFD
flabel locali 8655 1280 8655 1280 7 FreeSans 400 0 -200 0 I_IN
flabel locali 9425 2120 9425 2120 2 FreeSans 400 0 120 120 OPAMP_out
<< end >>

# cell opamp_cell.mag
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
